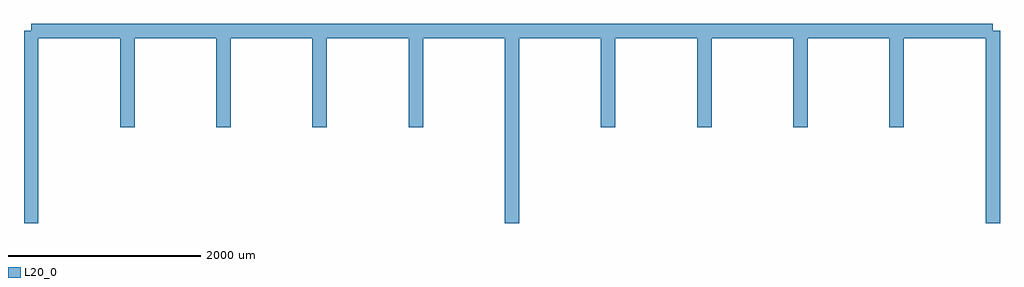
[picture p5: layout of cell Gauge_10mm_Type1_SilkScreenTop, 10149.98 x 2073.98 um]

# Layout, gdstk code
import gdstk
lib = gdstk.Library(unit=1e-6, precision=1e-09)
L20_0 = (20, 0)

gauge_10mm_type1_silkscr = lib.new_cell('Gauge_10mm_Type1_SilkScreenTop')
gauge_10mm_type1_silkscr.add(gdstk.FlexPath([(9999.98,0),(9999.98,-1998.98)], 149.998, ends="flush", simple_path=True, layer=20, datatype=0))  # L20_0
gauge_10mm_type1_silkscr.add(gdstk.FlexPath([(0,0),(9999.98,0)], 149.998, ends="flush", simple_path=True, layer=20, datatype=0))  # L20_0
gauge_10mm_type1_silkscr.add(gdstk.FlexPath([(0,0),(0,-1998.98)], 149.998, ends="flush", simple_path=True, layer=20, datatype=0))  # L20_0
gauge_10mm_type1_silkscr.add(gdstk.FlexPath([(5001.26,0),(5001.26,-1998.98)], 149.998, ends="flush", simple_path=True, layer=20, datatype=0))  # L20_0
gauge_10mm_type1_silkscr.add(gdstk.FlexPath([(1000.76,0),(1000.76,-1000.76)], 149.998, ends="flush", simple_path=True, layer=20, datatype=0))  # L20_0
gauge_10mm_type1_silkscr.add(gdstk.FlexPath([(1998.98,0),(1998.98,-1000.76)], 149.998, ends="flush", simple_path=True, layer=20, datatype=0))  # L20_0
gauge_10mm_type1_silkscr.add(gdstk.FlexPath([(2999.74,0),(2999.74,-1000.76)], 149.998, ends="flush", simple_path=True, layer=20, datatype=0))  # L20_0
gauge_10mm_type1_silkscr.add(gdstk.FlexPath([(4000.5,0),(4000.5,-1000.76)], 149.998, ends="flush", simple_path=True, layer=20, datatype=0))  # L20_0
gauge_10mm_type1_silkscr.add(gdstk.FlexPath([(5999.48,0),(5999.48,-1000.76)], 149.998, ends="flush", simple_path=True, layer=20, datatype=0))  # L20_0
gauge_10mm_type1_silkscr.add(gdstk.FlexPath([(7000.24,0),(7000.24,-1000.76)], 149.998, ends="flush", simple_path=True, layer=20, datatype=0))  # L20_0
gauge_10mm_type1_silkscr.add(gdstk.FlexPath([(8001,0),(8001,-1000.76)], 149.998, ends="flush", simple_path=True, layer=20, datatype=0))  # L20_0
gauge_10mm_type1_silkscr.add(gdstk.FlexPath([(8999.22,0),(8999.22,-1000.76)], 149.998, ends="flush", simple_path=True, layer=20, datatype=0))  # L20_0
gauge_10mm_type1_silkscr.add(gdstk.Label('10mm', (9999.98,-2700.02), layer=9, texttype=0))
gauge_10mm_type1_silkscr.add(gdstk.Label('0', (0,-2799.08), layer=9, texttype=0))
gauge_10mm_type1_silkscr.add(gdstk.Label('5', (4998.72,-2900.68), layer=9, texttype=0))
gauge_10mm_type1_silkscr.add(gdstk.Label('type', (10200.64,-4800.6), layer=9, texttype=0))
gauge_10mm_type1_silkscr.add(gdstk.Label('devicename', (0,2999.74), layer=9, texttype=0))

lib.write_gds('Gauge_10mm_Type1_SilkScreenTop.gds')
